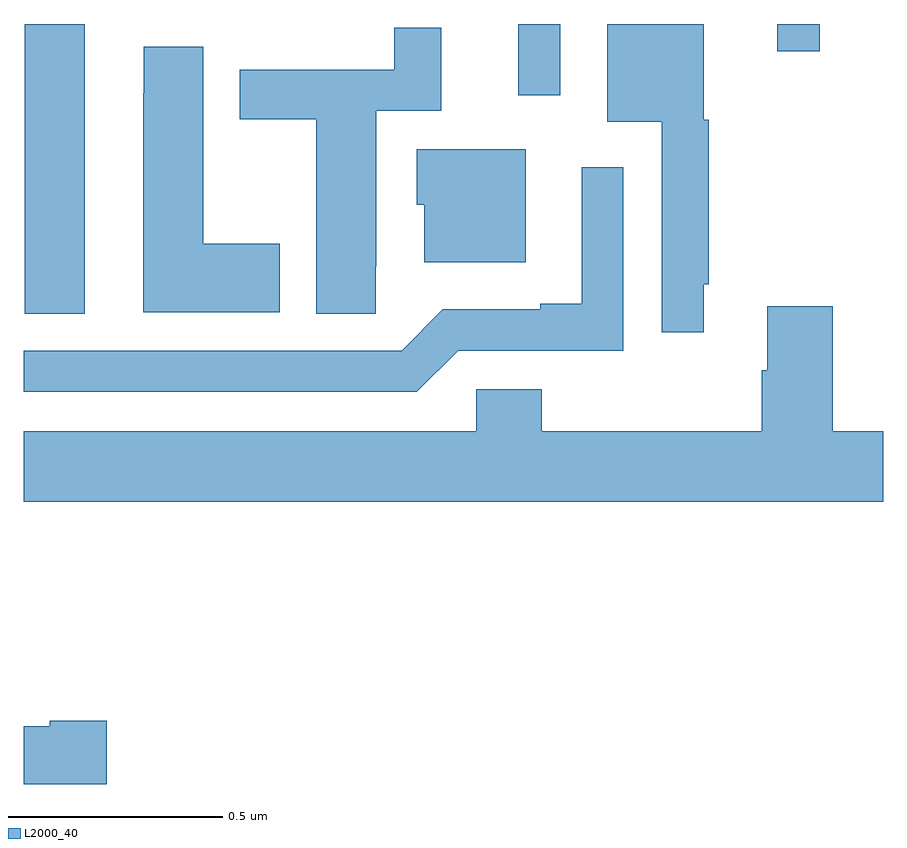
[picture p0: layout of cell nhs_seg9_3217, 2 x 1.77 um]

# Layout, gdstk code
import gdstk
lib = gdstk.Library(unit=1e-6, precision=1e-09)
def R(c, l, rs):  # rectangles x0, y0, x1, y1
    for r in rs: c.add(gdstk.rectangle(r[:2], r[2:], *l))
def P(c, l, *ps):  # polygons
    for p in ps: c.add(gdstk.Polygon(p, *l))
L2000_40 = (2000, 40)

nhs_seg9_3217 = lib.new_cell('nhs_seg9_3217')
R(nhs_seg9_3217, L2000_40, [(150.002,1228.825,150.142,1229.5), (151.151,1229.334,151.248,1229.5), (151.753,1229.436,151.852,1229.5)])
P(nhs_seg9_3217, L2000_40, [(151.582,1228.894),(151.594,1228.894),(151.594,1229.277),(151.582,1229.277),(151.582,1229.5),(151.358,1229.5),(151.358,1229.273),(151.485,1229.273),(151.485,1228.782),(151.582,1228.782)],
  [(150.819,1228.936),(150.82,1228.936),(150.82,1229.298),(150.971,1229.298),(150.971,1229.491),(150.862,1229.491),(150.862,1229.394),(150.503,1229.394),(150.503,1229.278),(150.68,1229.278),(150.68,1228.825),(150.819,1228.825)],
  [(150.595,1228.989),(150.418,1228.989),(150.418,1229.447),(150.279,1229.447),(150.279,1229.339),(150.278,1229.339),(150.278,1228.829),(150.595,1228.829)],
  [(151.168,1229.209),(150.914,1229.209),(150.914,1229.079),(150.932,1229.079),(150.932,1228.946),(151.168,1228.946)],
  [(151.011,1228.74),(151.395,1228.74),(151.395,1229.167),(151.298,1229.167),(151.298,1228.849),(151.202,1228.849),(151.202,1228.836),(150.975,1228.836),(150.879,1228.74),(150,1228.74),(150,1228.644),(150.915,1228.644)],
  [(152,1228.552),(151.883,1228.552),(151.883,1228.843),(151.73,1228.843),(151.73,1228.694),(151.718,1228.694),(151.718,1228.552),(151.205,1228.552),(151.205,1228.65),(151.053,1228.65),(151.053,1228.552),(150,1228.552),(150,1228.388),(152,1228.388)],
  [(150.193,1227.878),(150.06,1227.878),(150.06,1227.865),(150,1227.865),(150,1227.731),(150.193,1227.731)])

lib.write_gds('nhs_seg9_3217.gds')
